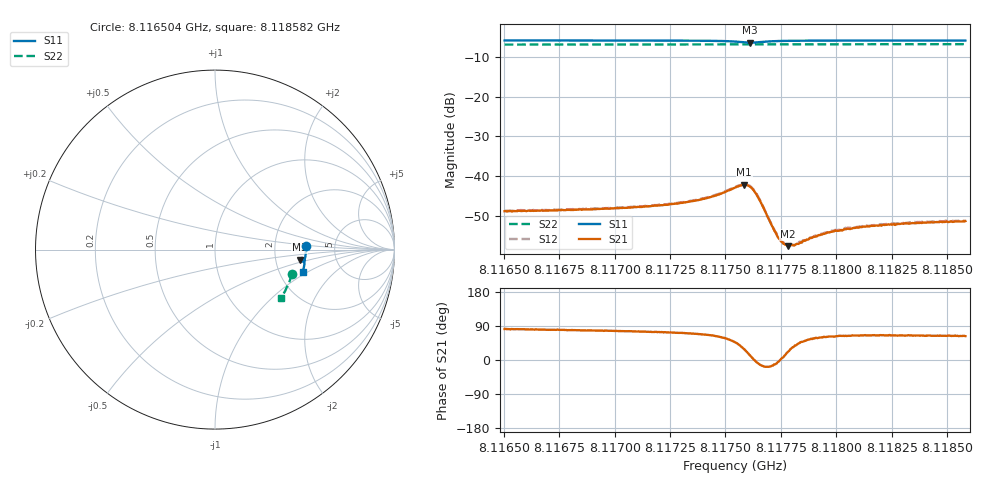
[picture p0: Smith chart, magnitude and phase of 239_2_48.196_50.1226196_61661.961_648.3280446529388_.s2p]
#  HZ  S  RI  R  50.00
! Rohde & Schwarz Vector Network Analyzer
! Rohde-Schwarz,ZNB20-2Port,1311601062101988,3.16
! Created: UTC 3/20/2024, 11:46:46 AM
! freq[Hz]  re:S11  im:S11  re:S21  im:S21  re:S12  im:S12  re:S22  im:S22
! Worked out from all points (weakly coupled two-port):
!   401 points, 8.116504 GHz to 8.118582 GHz, reference 50 ohm
!   highest |S21| = -42.19 dB at 8.117585 GHz (marker M1); lowest = -57.6 dB at 8.117782 GHz (marker M2)
!   lowest |S11| = -6.4 dB at 8.117611 GHz (marker M3), VSWR 2.82, Z = 138 - j20.1 ohm
!   |S11| at or under -10 dB: nowhere
!   |S22| runs from -6.9 to -6.8 dB; largest |S21 - S12| = 0.00019
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8.1165036e9  0.5064 0.0207  0.000516 0.00358  0.000582 0.00362  0.4287 -0.1359
8.1168518e9  0.5063 -0.00594  0.000764 0.00369  0.000786 0.00375  0.4215 -0.1592
8.1172e9  0.5041 -0.0337  0.00117 0.00411  0.00126 0.0042  0.4132 -0.1821
8.1172728e9  0.5033 -0.04  0.00139 0.00428  0.00144 0.00429  0.4114 -0.1868
8.1173819e9  0.5007 -0.0501  0.00184 0.00466  0.00191 0.00473  0.4083 -0.1939
8.1174703e9  0.4964 -0.0596  0.00279 0.00516  0.00291 0.00523  0.4057 -0.1997
8.117543e9  0.4864 -0.0669  0.00487 0.00525  0.00503 0.00529  0.4031 -0.2041
8.1175846e9  0.4763 -0.0641  0.00683 0.00371  0.00696 0.0037  0.4015 -0.2065
8.1176106e9  0.4728 -0.0565  0.00719 0.00157  0.00737 0.00153  0.4009 -0.2076
8.1176262e9  0.4743 -0.0513  0.00665 0.00026  0.0068 0.000214  0.4005 -0.2085
8.117647e9  0.4791 -0.0469  0.00536 -0.000821  0.00545 -0.000883  0.4001 -0.2094
8.1177145e9  0.4934 -0.0509  0.00218 -0.000559  0.00217 -0.000589  0.3988 -0.2138
8.1177405e9  0.496 -0.0546  0.00164 -0.000111  0.0017 -8.39e-05  0.398 -0.2156
8.1177613e9  0.497 -0.0574  0.0014 0.000183  0.00146 0.000181  0.3974 -0.2168
8.1177821e9  0.4979 -0.06  0.00122 0.000481  0.00127 0.000478  0.3969 -0.2183
8.1178133e9  0.4986 -0.0638  0.00106 0.000839  0.00107 0.000832  0.3959 -0.2202
8.1178912e9  0.4987 -0.072  0.000959 0.00138  0.00096 0.00139  0.3933 -0.2252
8.117964e9  0.4983 -0.0786  0.000932 0.00172  0.00095 0.00175  0.3912 -0.2299
8.1180419e9  0.4976 -0.0853  0.000939 0.00192  0.001 0.002  0.3885 -0.2347
8.1182394e9  0.4947 -0.1013  0.000997 0.00224  0.00108 0.00226  0.3816 -0.2469
8.1183434e9  0.493 -0.1092  0.0011 0.00231  0.00117 0.00234  0.3778 -0.2531
8.1185824e9  0.4886 -0.1268  0.00123 0.00242  0.00121 0.00245  0.3688 -0.2672
